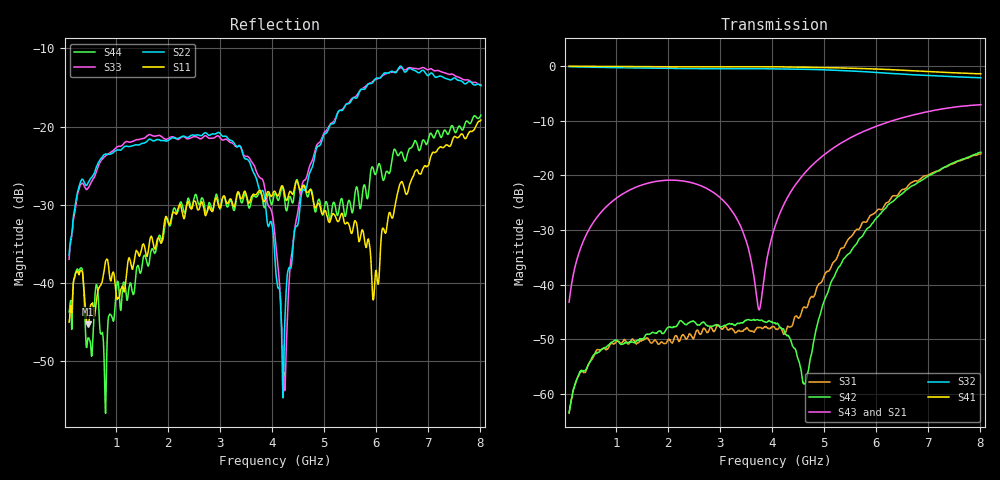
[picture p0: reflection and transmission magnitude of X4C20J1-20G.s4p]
!Port 1 = Pin 1 = Input Port
!Port 2 = Pin 2 = Coupled Port
!Port 3 = Pin 3 = Isolated Port
!Port 4 = Pin 4 = Direct Port
# MHZ S DB R 50
!Freq dBS11  angS11  dBS12  angS12  dBS13  angS13  dBS14  angS14
!  dBS21  angS21  dBS22  angS22  dBS23  angS23  dBS24  angS24
!  dBS31  angS31  dBS32  angS32  dBS33  angS33  dBS34  angS34
!  dBS41  angS41  dBS42  angS42  dBS43  angS43  dBS44  angS44
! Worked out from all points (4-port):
!   792 points, 100 MHz to 8.01 GHz, reference 50 ohm
!   strongest paths, dB at 100 MHz, 2.08 GHz, 4.06 GHz, 6.04 GHz, 8.01 GHz:
!     S41: 0.0, -0.1, -0.1, -0.5, -1.4
!     S32: -0.1, -0.4, -0.5, -1.2, -2.1
!     S43: -43.2, -20.9, -29.2, -10.9, -7.1
!     S21: -43.2, -20.9, -29.2, -10.9, -7.1
!     S42: -63.5, -47.8, -47.0, -27.5, -15.8
!     S31: -63.6, -50.7, -48.0, -26.2, -16.0
!   lowest |S11| = -45.3 dB at 460 MHz (marker M1), VSWR 1.01, Z = 50.5 + j0.134 ohm
!   |S11| at or under -10 dB: start of sweep to end of sweep
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100  -45.00 130.7  -43.20 85.2  -63.55 -109.2  -0.01 -1.8
     -43.20 85.2  -36.42 72.2  -0.10 -5.7  -63.60 -110.3
     -63.55 -111.1  -0.10 -5.7  -36.98 77.8  -43.21 85.4
     -0.01 -1.8  -63.46 -110.0  -43.19 85.1  -43.71 140.4
460  -45.29 14.1  -30.30 73.5  -54.87 -134.4  -0.03 -7.1
     -30.30 73.5  -27.24 39.8  -0.18 -24.7  -54.92 -132.9
     -54.92 -135.3  -0.18 -24.8  -27.87 41.5  -30.29 73.4
     -0.04 -7.1  -54.83 -133.6  -30.29 73.5  -47.03 27.3
3250  -30.09 -145.1  -26.82 -13.6  -48.27 162.0  -0.12 -45.0
      -26.82 -13.7  -21.95 -79.6  -0.48 -174.8  -47.20 -179.6
      -48.30 161.3  -0.48 -174.8  -22.16 -91.8  -26.79 -14.4
      -0.12 -45.0  -47.27 177.6  -26.80 -14.4  -30.49 -127.4
3750  -28.22 -139.4  -43.58 49.6  -47.87 151.1  -0.12 -52.2
      -43.62 49.2  -27.95 -104.0  -0.48 157.0  -46.59 175.2
      -47.85 150.8  -0.48 157.0  -26.42 -125.5  -44.56 50.0
      -0.12 -52.2  -46.54 175.9  -44.64 50.3  -28.44 -140.8
4240  -28.59 -160.8  -25.02 117.0  -49.28 104.6  -0.14 -59.5
      -25.02 116.9  -45.64 -83.5  -0.51 129.4  -49.08 149.1
      -49.01 105.4  -0.51 129.4  -53.77 -158.7  -25.01 117.7
      -0.15 -59.5  -48.72 146.1  -25.02 117.8  -29.39 -136.9
5270  -32.12 -165.9  -14.45 86.6  -33.90 -29.6  -0.32 -75.7
      -14.45 86.6  -18.10 -21.3  -0.78 73.0  -37.92 -39.3
      -34.51 -29.5  -0.79 72.9  -18.13 -22.2  -14.41 86.6
      -0.32 -75.6  -36.90 -37.5  -14.41 86.7  -31.13 -154.3
8010  -19.16 -91.6  -7.09 -1.3  -15.94 -174.0  -1.43 -117.1
      -7.12 -1.5  -14.79 -129.4  -2.11 -70.5  -15.96 -173.0
      -16.05 -174.9  -2.12 -70.7  -14.67 -127.0  -7.13 -1.9
      -1.40 -117.1  -15.78 -173.2  -7.06 -1.9  -18.54 -92.2
